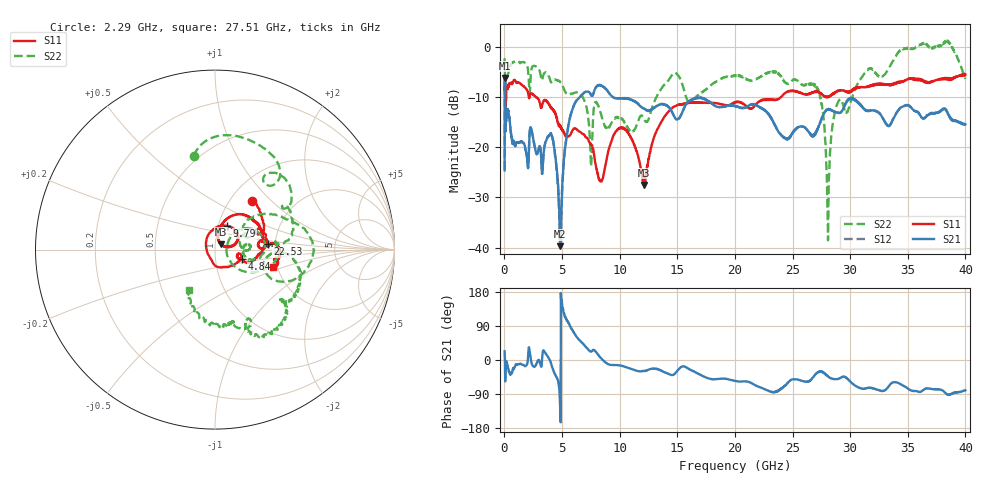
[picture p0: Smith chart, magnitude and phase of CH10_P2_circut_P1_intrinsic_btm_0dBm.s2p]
!Keysight Technologies,N5222B,MY61257109,A.17.25.03
!Date: Tuesday, July 21, 2026 11:42:52
!Correction: S11(C  2-Port  )
!S21(C  2-Port  )
!S12(C  2-Port  )
!S22(C  2-Port  )
!S2P File: Measurements: S11, S21, S12, S22:
# Hz S  dB  R 50
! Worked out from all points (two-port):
!   4000 points, 10 MHz to 40 GHz, reference 50 ohm
!   highest |S21| = -6.25 dB at 50 MHz (marker M1); lowest = -39.7 dB at 4.83 GHz (marker M2)
!   |S21| within 3 dB of the highest: 6.879 GHz to 7.419 GHz (540 MHz wide, 7.55 % of centre); 7.732 GHz to 9.076 GHz (1.344 GHz wide, 16 % of centre)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
!   lowest |S11| = -27.5 dB at 12.11 GHz (marker M3), VSWR 1.09, Z = 53.1 + j3.06 ohm
!   |S11| at or under -10 dB: 2.111 GHz to 2.178 GHz (67.29 MHz wide, 3.14 % of centre); 2.711 GHz to 24 GHz (21.29 GHz wide, 159 % of centre); 27.98652 GHz to 28.04352 GHz (57 MHz wide, 0.203 % of centre)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
!   |S22| runs from -38.5 to 1.2 dB; largest |S21 - S12| = 0.0082
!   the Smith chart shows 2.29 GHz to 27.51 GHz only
!   S11 on the Smith chart (normalised r, x): 2.29 GHz: 1.26, +0.78; 4.84 GHz: 1.34, -0.15; 9.79 GHz: 1.10, +0.30; 22.53 GHz: 1.82, +0.12; 27.51 GHz: 1.90, -0.42
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1e7  -5.83 -6.3  -24.64 22.9  -24.56 24.5  -2.30 -49.2
5e7  -9.44 -172.8  -6.25 -30.1  -6.25 -30.1  -6.58 -152.9
6.4e8  -7.30 158.2  -18.12 -34.4  -18.10 -34.2  -3.21 163.8
2.29e9  -9.29 52.7  -16.08 -0.2  -16.06 -0.1  -5.44 102.7
4.11e9  -12.19 -7.3  -17.64 -16.4  -17.74 -16.6  -7.04 32.9
4.83e9  -16.04 -19.4  -39.71 -130.1  -38.07 -114.3  -6.97 13.9
4.84e9  -15.99 -19.8  -39.54 -135.9  -39.40 -135.7  -7.03 13.7
6.68e9  -17.20 -34.5  -9.72 46.9  -9.69 46.8  -9.65 -14.6
8.35e9  -26.79 -159.2  -7.73 5.5  -7.71 5.5  -13.28 -15.0
9.79e9  -16.49 63.2  -10.30 -13.2  -10.31 -13.6  -14.15 4.1
1.211e10  -27.51 43.0  -12.33 -29.4  -12.31 -28.7  -14.47 20.6
1.334e10  -16.14 72.9  -11.67 -25.1  -11.63 -24.4  -9.31 35.7
2.001e10  -11.06 8.8  -11.86 -55.1  -11.84 -55.1  -5.84 -27.5
2.253e10  -10.61 6.0  -12.59 -76.2  -12.58 -76.2  -5.56 -41.2
2.667e10  -9.22 -8.9  -17.79 -50.0  -17.58 -49.5  -7.58 -86.0
2.751e10  -9.43 -16.8  -14.43 -30.1  -14.34 -31.5  -11.46 -123.0
2.809e10  -9.95 -11.4  -12.52 -44.1  -12.39 -43.2  -36.33 -36.2
2.896e10  -8.81 -11.5  -13.16 -49.8  -13.14 -49.9  -10.99 -29.4
3.334e10  -7.65 -24.4  -15.76 -69.7  -15.78 -69.9  -4.32 -47.5
3.635e10  -6.86 -37.0  -14.26 -79.3  -14.19 -79.5  0.63 -107.4
3.852e10  -6.29 -36.5  -13.49 -91.6  -13.42 -91.7  0.84 -166.1
4e10  -5.56 -41.5  -15.46 -79.9  -15.39 -80.6  -6.42 136.2
